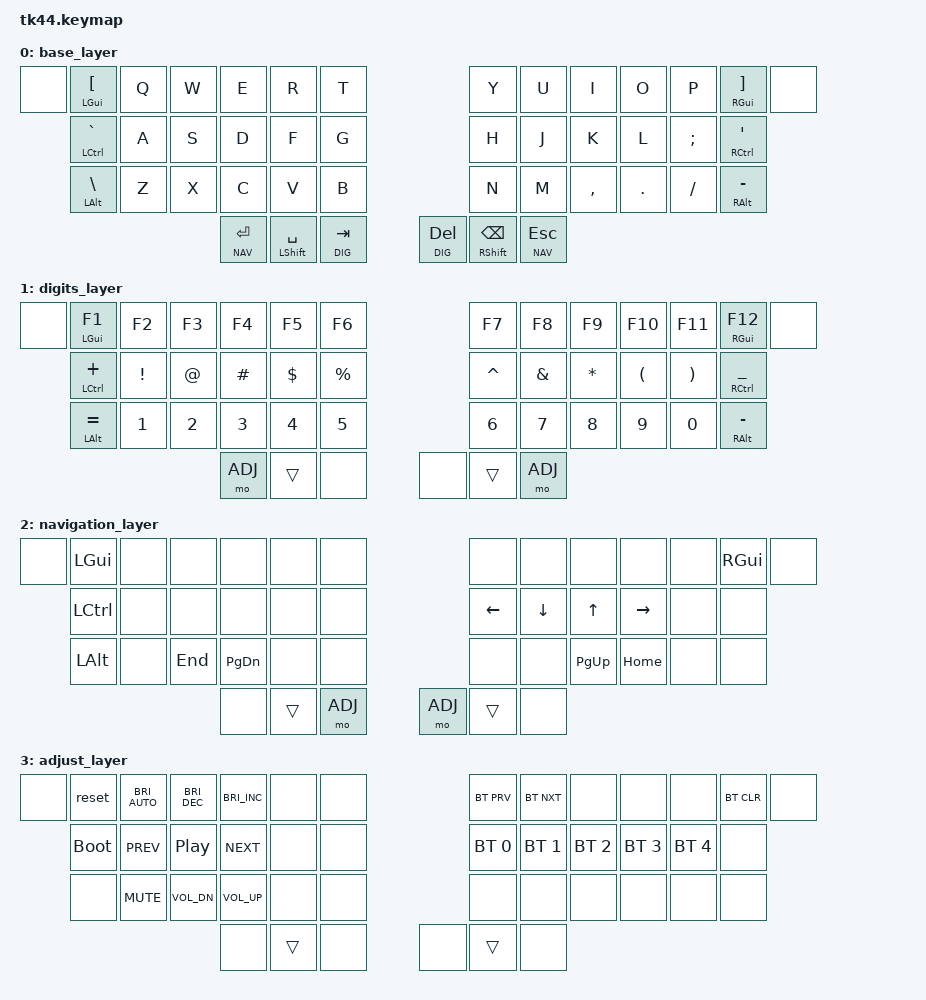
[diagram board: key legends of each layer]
/*
 * Copyright (c) 2022 The ZMK Contributors
 *
 * SPDX-License-Identifier: MIT
 */

#include <behaviors.dtsi>
#include <dt-bindings/zmk/keys.h>
#include <dt-bindings/zmk/bt.h>

#define BASE 0
#define DIG 1
#define NAV 2
#define ADJ 3

&lt {
    quick_tap_ms = <200>;
};

&mt {
    quick_tap_ms = <200>;
};

/ {
        keymap {
                compatible = "zmk,keymap";

                base_layer {
                        bindings = <
                                //┌─────────────────┬─────────────────┬─────────────────┬─────────────────┬─────────────────┬─────────────────┬─────────────────┐                             ┌─────────────────┬─────────────────┬─────────────────┬─────────────────┬─────────────────┬─────────────────┬─────────────────┐
                                //│                 │                 │                 │                 │                 │                 │                 │                             │                 │                 │                 │                 │                 │                 │                 │
                                    &none             &mt LGUI LBKT     &kp Q             &kp W             &kp E             &kp R             &kp T                                           &kp Y             &kp U             &kp I             &kp O             &kp P             &mt RGUI RBKT     &none
                                //│                 │                 │                 │                 │                 │                 │                 │                             │                 │                 │                 │                 │                 │                 │                 │
                                //└─────────────────┼─────────────────┼─────────────────┼─────────────────┼─────────────────┼─────────────────┼─────────────────┤                             ├─────────────────┼─────────────────┼─────────────────┼─────────────────┼─────────────────┼─────────────────┼─────────────────┘
                                //                  │                 │                 │                 │                 │                 │                 │                             │                 │                 │                 │                 │                 │                 │
                                                      &mt LCTRL GRAVE   &kp A             &kp S             &kp D             &kp F             &kp G                                           &kp H             &kp J             &kp K             &kp L             &kp SEMI          &mt RCTRL SQT
                                //                  │                 │                 │                 │                 │                 │                 │                             │                 │                 │                 │                 │                 │                 │
                                //                  ├─────────────────┼─────────────────┼─────────────────┼─────────────────┼─────────────────┼─────────────────┤                             ├─────────────────┼─────────────────┼─────────────────┼─────────────────┼─────────────────┼─────────────────┤
                                //                  │                 │                 │                 │                 │                 │                 │                             │                 │                 │                 │                 │                 │                 │
                                                      &mt LALT BSLH     &kp Z             &kp X             &kp C             &kp V             &kp B                                           &kp N             &kp M             &kp COMMA         &kp PERIOD        &kp SLASH         &mt RALT MINUS
                                //                  │                 │                 │                 │                 │                 │                 │                             │                 │                 │                 │                 │                 │                 │
                                //                  └─────────────────┴─────────────────┴─────────────────┴────────┬────────┴────────┬────────┴────────┬────────┴────────┐          ┌─────────┴────────┬────────┴────────┬────────┴────────┬────────┴─────────────────┴─────────────────┴─────────────────┘
                                //                                                                                 │                 │                 │                 │          │                  │                 │                 │
                                                                                                                     &lt NAV ENTER     &mt LSHFT SPACE   &lt DIG TAB                  &lt DIG DEL        &mt RSHIFT BSPC   &lt NAV ESC
                                //                                                                                 │                 │                 │                 │          │                  │                 │                 │
                                //                                                                                 └─────────────────┴─────────────────┴─────────────────┘          └──────────────────┴─────────────────┴─────────────────┘
                        >;
                };
                digits_layer {
                        bindings = <
                                //┌─────────────────┬─────────────────┬─────────────────┬─────────────────┬─────────────────┬─────────────────┬─────────────────┐                             ┌─────────────────┬─────────────────┬─────────────────┬─────────────────┬─────────────────┬─────────────────┬─────────────────┐
                                //│                 │                 │                 │                 │                 │                 │                 │                             │                 │                 │                 │                 │                 │                 │                 │
                                    &none             &mt LGUI F1       &kp F2            &kp F3            &kp F4            &kp F5            &kp F6                                          &kp F7            &kp F8            &kp F9            &kp F10           &kp F11           &mt RGUI F12      &none
                                //│                 │                 │                 │                 │                 │                 │                 │                             │                 │                 │                 │                 │                 │                 │                 │
                                //└─────────────────┼─────────────────┼─────────────────┼─────────────────┼─────────────────┼─────────────────┼─────────────────┤                             ├─────────────────┼─────────────────┼─────────────────┼─────────────────┼─────────────────┼─────────────────┼─────────────────┘
                                //                  │                 │                 │                 │                 │                 │                 │                             │                 │                 │                 │                 │                 │                 │
                                                      &mt LCTRL PLUS    &kp EXCL          &kp AT            &kp HASH          &kp DOLLAR        &kp PERCENT                                     &kp CARET         &kp AMPERSAND     &kp ASTERISK      &kp LPAR          &kp RPAR          &mt RCTRL UNDER
                                //                  │                 │                 │                 │                 │                 │                 │                             │                 │                 │                 │                 │                 │                 │
                                //                  ├─────────────────┼─────────────────┼─────────────────┼─────────────────┼─────────────────┼─────────────────┤                             ├─────────────────┼─────────────────┼─────────────────┼─────────────────┼─────────────────┼─────────────────┤
                                //                  │                 │                 │                 │                 │                 │                 │                             │                 │                 │                 │                 │                 │                 │
                                                      &mt LALT EQUAL    &kp N1            &kp N2            &kp N3            &kp N4            &kp N5                                          &kp N6            &kp N7            &kp N8            &kp N9            &kp N0            &mt RALT MINUS
                                //                  │                 │                 │                 │                 │                 │                 │                             │                 │                 │                 │                 │                 │                 │
                                //                  └─────────────────┴─────────────────┴─────────────────┴────────┬────────┴────────┬────────┴────────┬────────┴────────┐          ┌─────────┴────────┬────────┴────────┬────────┴────────┬────────┴─────────────────┴─────────────────┴─────────────────┘
                                //                                                                                 │                 │                 │                 │          │                  │                 │                 │
                                                                                                                     &mo ADJ           &trans            &none                        &none              &trans            &mo ADJ
                                //                                                                                 │                 │                 │                 │          │                  │                 │                 │
                                //                                                                                 └─────────────────┴─────────────────┴─────────────────┘          └──────────────────┴─────────────────┴─────────────────┘
                        >;
                };

                navigation_layer {
                        bindings = <
                                //┌─────────────────┬─────────────────┬─────────────────┬─────────────────┬─────────────────┬─────────────────┬─────────────────┐                             ┌─────────────────┬─────────────────┬─────────────────┬─────────────────┬─────────────────┬─────────────────┬─────────────────┐
                                //│                 │                 │                 │                 │                 │                 │                 │                             │                 │                 │                 │                 │                 │                 │                 │
                                    &none             &kp LGUI          &none             &none             &none             &none             &none                                           &none             &none             &none             &none             &none             &kp RGUI          &none
                                //│                 │                 │                 │                 │                 │                 │                 │                             │                 │                 │                 │                 │                 │                 │                 │
                                //└─────────────────┼─────────────────┼─────────────────┼─────────────────┼─────────────────┼─────────────────┼─────────────────┤                             ├─────────────────┼─────────────────┼─────────────────┼─────────────────┼─────────────────┼─────────────────┼─────────────────┘
                                //                  │                 │                 │                 │                 │                 │                 │                             │                 │                 │                 │                 │                 │                 │
                                                      &kp LCTRL         &none             &none             &none             &none             &none                                           &kp LEFT          &kp DOWN          &kp UP            &kp RIGHT         &none             &none
                                //                  │                 │                 │                 │                 │                 │                 │                             │                 │                 │                 │                 │                 │                 │
                                //                  ├─────────────────┼─────────────────┼─────────────────┼─────────────────┼─────────────────┼─────────────────┤                             ├─────────────────┼─────────────────┼─────────────────┼─────────────────┼─────────────────┼─────────────────┤
                                //                  │                 │                 │                 │                 │                 │                 │                             │                 │                 │                 │                 │                 │                 │
                                                      &kp LALT          &none             &kp END           &kp PG_DN         &none             &none                                           &none             &none             &kp PG_UP          &kp HOME         &none             &none
                                //                  │                 │                 │                 │                 │                 │                 │                             │                 │                 │                 │                 │                 │                 │
                                //                  └─────────────────┴─────────────────┴─────────────────┴────────┬────────┴────────┬────────┴────────┬────────┴────────┐          ┌─────────┴────────┬────────┴────────┬────────┴────────┬────────┴─────────────────┴─────────────────┴─────────────────┘
                                //                                                                                 │                 │                 │                 │          │                  │                 │                 │
                                                                                                                     &none             &trans            &mo ADJ                      &mo ADJ            &trans            &none
                                //                                                                                 │                 │                 │                 │          │                  │                 │                 │
                                //                                                                                 └─────────────────┴─────────────────┴─────────────────┘          └──────────────────┴─────────────────┴─────────────────┘
                        >;
                };
                adjust_layer {
                        bindings = <
                                //┌─────────────────┬─────────────────┬─────────────────┬─────────────────┬─────────────────┬─────────────────┬─────────────────┐                             ┌─────────────────┬─────────────────┬─────────────────┬─────────────────┬─────────────────┬─────────────────┬─────────────────┐
                                //│                 │                 │                 │                 │                 │                 │                 │                             │                 │                 │                 │                 │                 │                 │                 │
                                    &none             &reset            &kp C_BRI_AUTO    &kp C_BRI_DEC     &kp C_BRI_INC     &none             &none                                           &bt BT_PRV        &bt BT_NXT        &none             &none             &none             &bt BT_CLR        &none
                                //│                 │                 │                 │                 │                 │                 │                 │                             │                 │                 │                 │                 │                 │                 │                 │
                                //└─────────────────┼─────────────────┼─────────────────┼─────────────────┼─────────────────┼─────────────────┼─────────────────┤                             ├─────────────────┼─────────────────┼─────────────────┼─────────────────┼─────────────────┼─────────────────┼─────────────────┘
                                //                  │                 │                 │                 │                 │                 │                 │                             │                 │                 │                 │                 │                 │                 │
                                                      &bootloader       &kp C_PREV        &kp C_PP          &kp C_NEXT        &none             &none                                           &bt BT_SEL 0      &bt BT_SEL 1      &bt BT_SEL 2      &bt BT_SEL 3      &bt BT_SEL 4      &none
                                //                  │                 │                 │                 │                 │                 │                 │                             │                 │                 │                 │                 │                 │                 │
                                //                  ├─────────────────┼─────────────────┼─────────────────┼─────────────────┼─────────────────┼─────────────────┤                             ├─────────────────┼─────────────────┼─────────────────┼─────────────────┼─────────────────┼─────────────────┤
                                //                  │                 │                 │                 │                 │                 │                 │                             │                 │                 │                 │                 │                 │                 │
                                                      &none             &kp C_MUTE        &kp C_VOL_DN      &kp C_VOL_UP      &none             &none                                           &none             &none             &none             &none             &none             &none
                                //                  │                 │                 │                 │                 │                 │                 │                             │                 │                 │                 │                 │                 │                 │
                                //                  └─────────────────┴─────────────────┴─────────────────┴────────┬────────┴────────┬────────┴────────┬────────┴────────┐          ┌─────────┴────────┬────────┴────────┬────────┴────────┬────────┴─────────────────┴─────────────────┴─────────────────┘
                                //                                                                                 │                 │                 │                 │          │                  │                 │                 │
                                                                                                                     &none             &trans            &none                        &none              &trans            &none
                                //                                                                                 │                 │                 │                 │          │                  │                 │                 │
                                //                                                                                 └─────────────────┴─────────────────┴─────────────────┘          └──────────────────┴─────────────────┴─────────────────┘
                        >;
                };
        };
};
